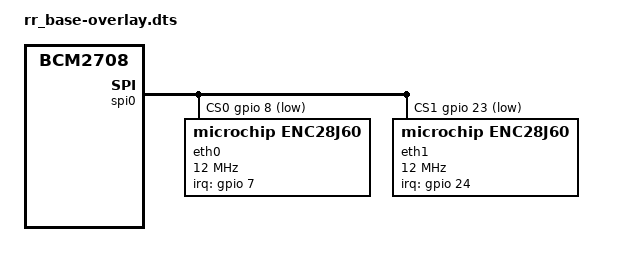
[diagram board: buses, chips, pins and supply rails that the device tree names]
// Overlay for rr_base
/dts-v1/;
/plugin/;

/ {
	compatible = "brcm,bcm2708";

	fragment@1 {
		target = <&gpio>;
		__overlay__ {
			spi0_pins: spi0_pins {
				brcm,pins = <9 10 11>;
				brcm,function = <4>; /* alt0 */
			};

			spi0_cs_pins: spi0_cs_pins {
				brcm,pins = <8 23>;
				brcm,function = <1>; /* out */
			};

			/* ethernet irq pins */
			eth0_pins: eth0_pins {
				brcm,pins = <7>;
				brcm,function = <0>; /* in */
				brcm,pull = <0>; /* none */
			};

			eth1_pins: eth1_pins {
				brcm,pins = <24>;
				brcm,function = <0>; /* in */
				brcm,pull = <0>; /* none */
			};
		};
	};

	fragment@2 {
		target = <&spi0>;
		__overlay__ {
			/* needed to avoid dtc warning */
			#address-cells = <1>;
			#size-cells = <0>;
			compatible = "brcm,bcm2835-spi";
			pinctrl-0 = <&spi0_pins &spi0_cs_pins>;
			status = "okay";
			cs-gpios = <&gpio 8 1>, <&gpio 23 1>;

			spidev@0{
				status = "disabled";
			};

			spidev@1{
				status = "disabled";
			};

			eth0: enc28j60@0{
				compatible = "microchip,enc28j60";
				reg = <0>; /* CE0 */
				pinctrl-names = "default";
				pinctrl-0 = <&eth0_pins>;
				interrupt-parent = <&gpio>;
				interrupts = <7 0x2>; /* falling edge */
				spi-max-frequency = <12000000>;
				status = "okay";
			};

			eth1: enc28j60@1{
				compatible = "microchip,enc28j60";
				reg = <1>; /* CE1 */
				pinctrl-names = "default";
				pinctrl-0 = <&eth1_pins>;
				interrupt-parent = <&gpio>;
				interrupts = <24 0x2>; /* falling edge */
				spi-max-frequency = <12000000>;
				status = "okay";
			};
		};
	};
};
